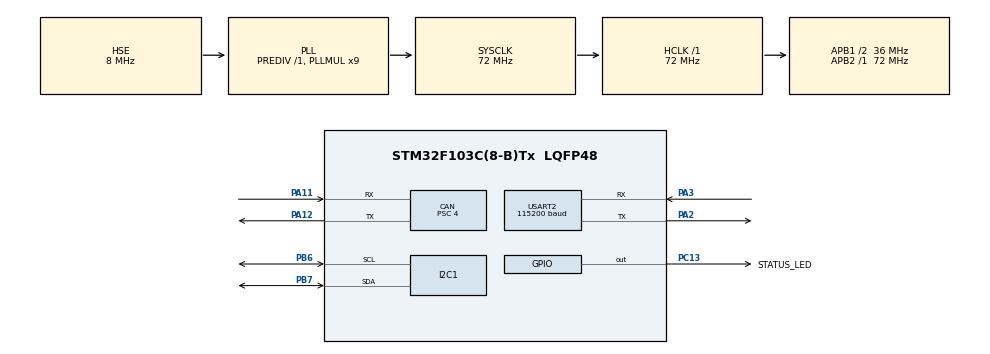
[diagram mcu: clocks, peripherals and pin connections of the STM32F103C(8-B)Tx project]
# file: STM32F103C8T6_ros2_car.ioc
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CAN.ABOM=ENABLE
CAN.BS1=CAN_BS1_6TQ
CAN.BS2=CAN_BS2_2TQ
CAN.CalculateBaudRate=1000000
CAN.CalculateTimeBit=1000
CAN.CalculateTimeQuantum=111.11111111111111
CAN.NART=ENABLE
CAN.Prescaler=4
Dma.Request0=USART2_RX
Dma.Request1=USART2_TX
Dma.USART2_RX.0.Direction=DMA_PERIPH_TO_MEMORY
Dma.USART2_RX.0.Instance=DMA1_Channel6
Dma.USART2_RX.0.MemDataAlignment=DMA_MDATAALIGN_BYTE
Dma.USART2_RX.0.MemInc=DMA_MINC_ENABLE
Dma.USART2_RX.0.Mode=DMA_CIRCULAR
Dma.USART2_RX.0.PeriphDataAlignment=DMA_PDATAALIGN_BYTE
Dma.USART2_RX.0.PeriphInc=DMA_PINC_DISABLE
Dma.USART2_RX.0.Priority=DMA_PRIORITY_LOW
Dma.USART2_TX.1.Direction=DMA_MEMORY_TO_PERIPH
Dma.USART2_TX.1.Instance=DMA1_Channel7
Dma.USART2_TX.1.MemDataAlignment=DMA_MDATAALIGN_BYTE
Dma.USART2_TX.1.MemInc=DMA_MINC_ENABLE
Dma.USART2_TX.1.Mode=DMA_NORMAL
Dma.USART2_TX.1.PeriphDataAlignment=DMA_PDATAALIGN_BYTE
Dma.USART2_TX.1.PeriphInc=DMA_PINC_DISABLE
Dma.USART2_TX.1.Priority=DMA_PRIORITY_LOW
I2C1.I2C_Mode=I2C_Fast
I2C1.NoStretchMode=I2C_NOSTRETCH_DISABLE
Mcu.Family=STM32F1
Mcu.Name=STM32F103C(8-B)Tx
Mcu.Package=LQFP48
NVIC.DMA1_Channel6_IRQn=true\:0\:0\:false\:false\:true\:false\:true\:true
NVIC.DMA1_Channel7_IRQn=true\:0\:0\:false\:false\:true\:false\:true\:true
NVIC.PriorityGroup=NVIC_PRIORITYGROUP_4
NVIC.TIM2_IRQn=true\:0\:0\:false\:false\:true\:true\:true\:true
NVIC.USART2_IRQn=true\:0\:0\:false\:false\:true\:true\:true\:true
NVIC.USB_LP_CAN1_RX0_IRQn=true\:0\:0\:false\:false\:true\:true\:true\:true
PA11.Mode=CAN_Activate
PA11.Signal=CAN_RX
PA12.Mode=CAN_Activate
PA12.Signal=CAN_TX
PA13.Mode=Serial_Wire
PA13.Signal=SYS_JTMS-SWDIO
PA14.Mode=Serial_Wire
PA14.Signal=SYS_JTCK-SWCLK
PA2.Mode=Asynchronous
PA2.Signal=USART2_TX
PA3.Mode=Asynchronous
PA3.Signal=USART2_RX
PB6.Mode=I2C
PB6.Signal=I2C1_SCL
PB7.Mode=I2C
PB7.Signal=I2C1_SDA
PC13-TAMPER-RTC.GPIO_Label=STATUS_LED
PC13-TAMPER-RTC.Signal=GPIO_Output
PD0-OSC_IN.Mode=HSE-External-Oscillator
PD0-OSC_IN.Signal=RCC_OSC_IN
PD1-OSC_OUT.Mode=HSE-External-Oscillator
PD1-OSC_OUT.Signal=RCC_OSC_OUT
ProjectManager.HeapSize=0x200
ProjectManager.StackSize=0x400
ProjectManager.TargetToolchain=STM32CubeIDE
RCC.AHBFreq_Value=72000000
RCC.APB1CLKDivider=RCC_HCLK_DIV2
RCC.APB1Freq_Value=36000000
RCC.APB1TimFreq_Value=72000000
RCC.APB2Freq_Value=72000000
RCC.APB2TimFreq_Value=72000000
RCC.HCLKFreq_Value=72000000
RCC.PLLMUL=RCC_PLL_MUL9
RCC.PLLSourceVirtual=RCC_PLLSOURCE_HSE
RCC.SYSCLKFreq_VALUE=72000000
RCC.SYSCLKSource=RCC_SYSCLKSOURCE_PLLCLK
RCC.USBFreq_Value=72000000
TIM2.ClockDivision=TIM_CLOCKDIVISION_DIV1
TIM2.Period=999
TIM2.Prescaler=71
USART2.BaudRate=115200
USART2.VirtualMode=VM_ASYNC
VP_TIM2_VS_ClockSourceINT.Mode=Internal
VP_TIM2_VS_ClockSourceITR.Mode=TriggerSource_ITR0
board=custom

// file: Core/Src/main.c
/* USER CODE BEGIN Header */
/**
  ******************************************************************************
  * @file           : main.c
  * @brief          : Main program body
  ******************************************************************************
  * @attention
  *
  * Copyright (c) 2026 STMicroelectronics.
  * All rights reserved.
  *
  * This software is licensed under terms that can be found in the LICENSE file
  * in the root directory of this software component.
  * If no LICENSE file comes with this software, it is provided AS-IS.
  *
  ******************************************************************************
  */
/* USER CODE END Header */
#include "main.h"

/* USER CODE BEGIN Includes */
#include <stdio.h>
#include <string.h>

#include "jc_motor.h"
#include "oled.h"
/* USER CODE END Includes */

CAN_HandleTypeDef hcan;
I2C_HandleTypeDef hi2c1;

TIM_HandleTypeDef htim2;

UART_HandleTypeDef huart2;
DMA_HandleTypeDef hdma_usart2_rx;
DMA_HandleTypeDef hdma_usart2_tx;

/* USER CODE BEGIN PV */
volatile uint32_t app_tick = 0U;

volatile uint8_t uart_rx_byte = 0U;

/*
 * ============================================================
 * MOTOR TARGET
 * ============================================================
 */

static volatile float left_target_rpm = 0.0f;
static volatile float right_target_rpm = 0.0f;

/*
 * ============================================================
 * COMMAND WATCHDOG
 * ============================================================
 */

static volatile uint32_t last_cmd_ms = 0U;

static volatile uint8_t cmd_watchdog_active = 1U;

/*
 * ============================================================
 * UART
 * ============================================================
 */

#define UART_CMD_BUFFER_SIZE    64U

static char uart_cmd_buffer[
    UART_CMD_BUFFER_SIZE
];

static volatile uint8_t uart_cmd_index = 0U;

/*
 * ============================================================
 * SYSTEM STATUS
 * ============================================================
 */

static volatile uint8_t can_started = 0U;

static volatile uint8_t uart_command_seen = 0U;

/*
 * ============================================================
 * ROCK 5C
 * ============================================================
 */

#define ROCK_TIMEOUT_MS         15000U

static char rock_ip[24] =
    "192.168.xxx.xxx";

static volatile uint32_t last_rock_ms = 0U;

static volatile uint8_t rock_seen = 0U;

/*
 * ============================================================
 * CONFIGURATION
 * ============================================================
 */

#define LEFT_FORWARD_SIGN       (+1.0f)
#define RIGHT_FORWARD_SIGN      (-1.0f)

#define MANUAL_DRIVE_RPM        50.0f
#define MANUAL_TURN_RPM         40.0f

#define COMMAND_TIMEOUT_MS      300U

#define MOTOR_TIMEOUT_MS        100U

#define TELEMETRY_PERIOD_MS     20U

#define OLED_PERIOD_MS          200U

#define ROBOT_MAX_WHEEL_RPM  50.0f
/* USER CODE END PV */

void SystemClock_Config(void);
static void MX_GPIO_Init(void);
static void MX_DMA_Init(void);
static void MX_CAN_Init(void);
static void MX_I2C1_Init(void);
static void MX_TIM2_Init(void);
static void MX_USART2_UART_Init(void);

/* USER CODE BEGIN 0 */
static void Robot_SetWheelRpm(
    float left_rpm,
    float right_rpm)
{
    left_target_rpm = left_rpm;
    right_target_rpm = right_rpm;
}

static void Robot_Stop(void)
{
    Robot_SetWheelRpm(
        0.0f,
        0.0f
    );
}

static void Robot_Forward(void)
{
    Robot_SetWheelRpm(
        LEFT_FORWARD_SIGN *
            MANUAL_DRIVE_RPM,

        RIGHT_FORWARD_SIGN *
            MANUAL_DRIVE_RPM
    );
}

static void Robot_Backward(void)
{
    Robot_SetWheelRpm(
        -LEFT_FORWARD_SIGN *
            MANUAL_DRIVE_RPM,

        -RIGHT_FORWARD_SIGN *
            MANUAL_DRIVE_RPM
    );
}

static void Robot_TurnLeft(void)
{
    Robot_SetWheelRpm(
        -LEFT_FORWARD_SIGN *
            MANUAL_TURN_RPM,

        RIGHT_FORWARD_SIGN *
            MANUAL_TURN_RPM
    );
}

static void Robot_TurnRight(void)
{
    Robot_SetWheelRpm(
        LEFT_FORWARD_SIGN *
            MANUAL_TURN_RPM,

        -RIGHT_FORWARD_SIGN *
            MANUAL_TURN_RPM
    );
}

/*
 * Mark a command as valid.
 *
 * This kicks the command watchdog.
 */
static void Robot_CommandReceived(void)
{
    last_cmd_ms = HAL_GetTick();

    cmd_watchdog_active = 0U;

    uart_command_seen = 1U;
}

/*
 * Formal ROS-ready UART command:
 *
 * V,<left_rpm_x100>,<right_rpm_x100>
 *
 * Examples:
 *
 * V,5000,-5000
 *   left  = +50.00 rpm
 *   right = -50.00 rpm
 *
 * V,0,0
 *   stop
 */
static void Robot_ParseVelocityCommand(
    const char *line)
{
    long left_raw;
    long right_raw;

    if (sscanf(
            line,
            "V,%ld,%ld",
            &left_raw,
            &right_raw) == 2)
    {
        /*
         * UART protocol uses rpm * 100.
         */
        float left_rpm =
            (float)left_raw / 100.0f;

        float right_rpm =
            (float)right_raw / 100.0f;

        /*
         * Safety clamp at UART boundary.
         */
        if (left_rpm > ROBOT_MAX_WHEEL_RPM)
        {
            left_rpm = ROBOT_MAX_WHEEL_RPM;
        }

        if (left_rpm < -ROBOT_MAX_WHEEL_RPM)
        {
            left_rpm = -ROBOT_MAX_WHEEL_RPM;
        }

        if (right_rpm > ROBOT_MAX_WHEEL_RPM)
        {
            right_rpm = ROBOT_MAX_WHEEL_RPM;
        }

        if (right_rpm < -ROBOT_MAX_WHEEL_RPM)
        {
            right_rpm = -ROBOT_MAX_WHEEL_RPM;
        }

        Robot_SetWheelRpm(
            left_rpm,
            right_rpm
        );

        Robot_CommandReceived();

        char message[96];

        int length = snprintf(
            message,
            sizeof(message),

            "[CMD] V L=%.2f R=%.2f rpm\r\n",

            left_rpm,
            right_rpm
        );

        if (length > 0)
        {
            HAL_UART_Transmit(
                &huart2,
                (uint8_t *)message,
                (uint16_t)length,
                100U
            );
        }
    }
}

/*
 * Debug keyboard commands.
 *
 * These are intentionally retained for bench testing.
 */
static void Robot_HandleSingleCommand(
    uint8_t command)
{
    switch (command)
    {
        case 'w':
        case 'W':

            Robot_Forward();
            Robot_CommandReceived();
            break;

        case 's':
        case 'S':

            Robot_Backward();
            Robot_CommandReceived();
            break;

        case 'a':
        case 'A':

            Robot_TurnLeft();
            Robot_CommandReceived();
            break;

        case 'd':
        case 'D':

            Robot_TurnRight();
            Robot_CommandReceived();
            break;

        case 'x':
        case 'X':
        case ' ':

            Robot_Stop();
            Robot_CommandReceived();
            break;

        default:
            break;
    }
}

static void Robot_ParseIpCommand( const char *line)
{
    const char *ip;

    if (line == NULL)
    {
        return;
    }

    if (strncmp(
            line,
            "IP,",
            3U) != 0)
    {
        return;
    }

    ip = &line[3];

    /*
     * Reject empty or oversized strings.
     */
    size_t length =
        strlen(ip);

    if ((length == 0U) ||
        (length >= sizeof(rock_ip)))
    {
        return;
    }

    /*
     * Store IP for OLED.
     */
    strncpy(
        rock_ip,
        ip,
        sizeof(rock_ip) - 1U
    );

    rock_ip[
        sizeof(rock_ip) - 1U
    ] = '\0';

    /*
     * IP packet also acts as
     * Rock 5C heartbeat.
     */
    last_rock_ms =
        HAL_GetTick();

    rock_seen = 1U;
}

/*
 * Process one complete UART line.
 */
static void Robot_ProcessUartLine(
    const char *line)
{
    if (line == NULL)
    {
        return;
    }

    /*
     * Wheel velocity command.
     */
    if (strncmp(
            line,
            "V,",
            2U) == 0)
    {
        Robot_ParseVelocityCommand(
            line
        );

        return;
    }

    /*
     * Rock 5C IP / heartbeat.
     */
    if (strncmp(
            line,
            "IP,",
            3U) == 0)
    {
        Robot_ParseIpCommand(
            line
        );

        return;
    }
}

static void Robot_CheckWatchdog(void)
{
    uint32_t now =
        HAL_GetTick();

    if ((uint32_t)(
            now - last_cmd_ms
        ) > COMMAND_TIMEOUT_MS)
    {
        /*
         * Only stop once when watchdog trips.
         */
        if (cmd_watchdog_active == 0U)
        {
            Robot_Stop();

            cmd_watchdog_active = 1U;
        }
    }
}

static uint8_t Robot_GetStatus(void)
{
    uint8_t status = 0U;

    uint32_t now =
        HAL_GetTick();

    /*
     * bit0:
     * CAN peripheral started.
     */
    if (can_started)
    {
        status |= (1U << 0);
    }

    /*
     * bit1:
     * Left motor feedback alive.
     */
    if ((uint32_t)(
            now - motor_left.last_rx_ms
        ) <= MOTOR_TIMEOUT_MS)
    {
        status |= (1U << 1);
    }

    /*
     * bit2:
     * Right motor feedback alive.
     */
    if ((uint32_t)(
            now - motor_right.last_rx_ms
        ) <= MOTOR_TIMEOUT_MS)
    {
        status |= (1U << 2);
    }

    /*
     * bit3:
     * Command watchdog healthy.
     *
     * cmd_watchdog_active == 0
     * means command link is alive.
     */
    if (cmd_watchdog_active == 0U)
    {
        status |= (1U << 3);
    }

    /*
     * bit4:
     * At least one valid UART command
     * has been received since boot.
     */
    if (uart_command_seen)
    {
        status |= (1U << 4);
    }

    return status;
}

static void Robot_SendTelemetry(void)
{
    char buffer[160];

    uint32_t now =
        HAL_GetTick();

    /*
     * Position and velocity are transmitted
     * as scaled integers.
     *
     * position:
     * degree * 100
     *
     * velocity:
     * rpm * 100
     */
    int32_t left_pos_raw =
        (int32_t)(
            motor_left.pos_deg * 100.0f
        );

    int32_t left_vel_raw =
        (int32_t)(
            motor_left.vel_rpm * 100.0f
        );

    int32_t right_pos_raw =
        (int32_t)(
            motor_right.pos_deg * 100.0f
        );

    int32_t right_vel_raw =
        (int32_t)(
            motor_right.vel_rpm * 100.0f
        );

    uint8_t status =
        Robot_GetStatus();

    int length = snprintf(
        buffer,
        sizeof(buffer),

        "FB,%lu,%ld,%ld,%ld,%ld,%u\r\n",

        (unsigned long)now,

        (long)left_pos_raw,
        (long)left_vel_raw,

        (long)right_pos_raw,
        (long)right_vel_raw,

        (unsigned int)status
    );

    if (length <= 0)
    {
        return;
    }

    if ((size_t)length >= sizeof(buffer))
    {
        length =
            sizeof(buffer) - 1U;
    }

    HAL_UART_Transmit(
        &huart2,
        (uint8_t *)buffer,
        (uint16_t)length,
        20U
    );
}

static uint8_t Robot_IsRockOnline(void)
{
    if (rock_seen == 0U)
    {
        return 0U;
    }

    uint32_t age =
        HAL_GetTick() -
        last_rock_ms;

    if (age >
        ROCK_TIMEOUT_MS)
    {
        return 0U;
    }

    return 1U;
}

static void Robot_UpdateOLED(void)
{
    char line[32];

    uint8_t status =
        Robot_GetStatus();

    uint8_t can_ok =
        ((status &
          (1U << 0)) != 0U);

    uint8_t left_ok =
        ((status &
          (1U << 1)) != 0U);

    uint8_t right_ok =
        ((status &
          (1U << 2)) != 0U);

    uint8_t ros_ok =
        ((status &
          (1U << 3)) != 0U);

    uint8_t rock_ok =
        Robot_IsRockOnline();

    /*
     * Convert velocity manually
     * to integer rpm for display.
     *
     * OLED is status only.
     * Full precision remains in FB telemetry.
     */
    int left_rpm =
        (int)motor_left.vel_rpm;

    int right_rpm =
        (int)motor_right.vel_rpm;

    OLED_Clear();

    /*
     * ========================================================
     * LINE 1
     * ========================================================
     */

    OLED_SetCursor(
        0U,
        0U
    );

    OLED_WriteString(
        "ROS CAR"
    );

    /*
     * ========================================================
     * LINE 2
     * ========================================================
     */

    snprintf(
        line,
        sizeof(line),
        "IP:%s",
        rock_ip
    );

    OLED_SetCursor(
        0U,
        10U
    );

    OLED_WriteString(
        line
    );

    /*
     * ========================================================
     * LINE 3
     * ========================================================
     */

    snprintf(
        line,
        sizeof(line),

        "ROCK:%s",

        rock_ok ?
            "OK" :
            "WAIT"
    );

    OLED_SetCursor(
        0U,
        20U
    );

    OLED_WriteString(
        line
    );

    /*
     * ========================================================
     * LINE 4
     * ========================================================
     */

    snprintf(
        line,
        sizeof(line),

        "CAN:%s ROS:%s",

        (can_ok &&
         left_ok &&
         right_ok) ?
            "OK" :
            "ERR",

        ros_ok ?
            "OK" :
            "WAIT"
    );

    OLED_SetCursor(
        0U,
        30U
    );

    OLED_WriteString(
        line
    );

    /*
     * ========================================================
     * LINE 5
     * ========================================================
     */

    snprintf(
        line,
        sizeof(line),

        "L:%+4d RPM",

        left_rpm
    );

    OLED_SetCursor(
        0U,
        40U
    );

    OLED_WriteString(
        line
    );

    /*
     * ========================================================
     * LINE 6
     * ========================================================
     */

    snprintf(
        line,
        sizeof(line),

        "R:%+4d RPM",

        right_rpm
    );

    OLED_SetCursor(
        0U,
        50U
    );

    OLED_WriteString(
        line
    );

    OLED_Update();
}
/* USER CODE END 0 */

int main(void)
{

  /* MCU Configuration--------------------------------------------------------*/

  /* Reset of all peripherals, Initializes the Flash interface and the Systick. */
  HAL_Init();

  /* Configure the system clock */
  SystemClock_Config();

  /* Initialize all configured peripherals */
  MX_GPIO_Init();
  MX_DMA_Init();
  MX_CAN_Init();
  MX_I2C1_Init();
  MX_TIM2_Init();
  MX_USART2_UART_Init();
  /* USER CODE BEGIN 2 */
  /*
   * ============================================================
   * OLED
   * ============================================================
   */

  HAL_Delay(100U);

  /*
   * First verify that an I2C device exists.
   *
   * OLED expected at 0x3C.
   */
  if (HAL_I2C_IsDeviceReady(
          &hi2c1,
          OLED_I2C_ADDR,
          3U,
          100U) == HAL_OK)
  {
      if (OLED_Init(
              &hi2c1) == HAL_OK)
      {
          OLED_Clear();

          OLED_SetCursor(
              0U,
              0U
          );

          OLED_WriteString(
              "ROS CAR"
          );

          OLED_SetCursor(
              0U,
              15U
          );

          OLED_WriteString(
              "STM32 BOOT OK"
          );

          OLED_SetCursor(
              0U,
              30U
          );

          OLED_WriteString(
              "WAIT ROCK 5C"
          );

          OLED_Update();
      }
  }

  /*
   * Continue your existing initialization below.
   */

  if (HAL_TIM_Base_Start_IT(&htim2) != HAL_OK)
  {
      Error_Handler();
  }

  if (JC_CAN_Init() != HAL_OK)
  {
      const char error_message[] =
          "[ERR] CAN init failed\r\n";

      HAL_UART_Transmit(
          &huart2,
          (uint8_t *)error_message,
          sizeof(error_message) - 1U,
          100U
      );

      Error_Handler();
  }

  can_started = 1U;

  {
      const char startup_message[] =
          "[OK] CAN started @ 1Mbps\r\n";

      HAL_UART_Transmit(
          &huart2,
          (uint8_t *)startup_message,
          sizeof(startup_message) - 1U,
          100U
      );
  }

  /*
   * Put both motors into idle first.
   */
  HAL_Delay(100U);
  JC_Idle(JC_NODE_LEFT);
  HAL_Delay(100U);
  JC_Idle(JC_NODE_RIGHT);
  HAL_Delay(100U);

  JC_EnterClosedLoop(JC_NODE_LEFT);
  HAL_Delay(100U);
  JC_EnterClosedLoop(JC_NODE_RIGHT);
  HAL_Delay(100U);

/*
 * Mode 5 = JC native low-speed high-torque mode.
 *
 * This mode uses register 0x0027 rather than
 * the normal velocity register 0x0021.
 */
if (JC_SetMode(
        JC_NODE_LEFT,
        JC_MODE_LOW_SPEED_TORQUE) != HAL_OK)
{
    Error_Handler();
}

HAL_Delay(100U);

if (JC_SetMode(
        JC_NODE_RIGHT,
        JC_MODE_LOW_SPEED_TORQUE) != HAL_OK)
{
    Error_Handler();
}

HAL_Delay(100U);

  /*
   * Safe startup.
   */
    (void)JC_SetLowSpeedRpm(
        JC_NODE_LEFT,
        0.0f
    );

    (void)JC_SetLowSpeedRpm(
        JC_NODE_RIGHT,
        0.0f
    );

  Robot_Stop();

  last_cmd_ms = HAL_GetTick();
  cmd_watchdog_active = 1U;

  HAL_UART_Receive_IT(
      &huart2,
      (uint8_t *)&uart_rx_byte,
      1U
  );

  {
      const char message[] =
          "\r\n"
          "=================================\r\n"
          " ROS CAR BASE CONTROLLER\r\n"
          "=================================\r\n"
          "JC mode : velocity closed loop\r\n"
          "CAN     : 1 Mbps\r\n"
          "Left    : Node 1\r\n"
          "Right   : Node 3\r\n"
          "\r\n"
          "ROS interface:\r\n"
          "V,<left_rpm_x100>,<right_rpm_x100>\r\n"
          "\r\n"
          "Debug:\r\n"
          "W/S/A/D/X\r\n"
          "=================================\r\n";

      HAL_UART_Transmit(
          &huart2,
          (uint8_t *)message,
          sizeof(message) - 1U,
          200U
      );
  }
  /* USER CODE END 2 */

  /* Infinite loop */
  /* USER CODE BEGIN WHILE */

  uint32_t last_motor_tick = 0U;
  uint32_t last_telemetry_ms = 0U;
  uint32_t last_debug_ms = 0U;
  uint32_t last_oled_ms = 0U;

  uint32_t last_left_rx_count = 0U;
  uint32_t last_right_rx_count = 0U;

  while (1)
  {
      uint32_t tick =
          app_tick;

      /*
       * 1. Safety
       */
      Robot_CheckWatchdog();

      /*
       * 2. Motor command @ 100 Hz
       */
      if ((uint32_t)(
              tick - last_motor_tick
          ) >= 10U)
      {
          last_motor_tick = tick;

          (void)JC_SetLowSpeedRpm(
              JC_NODE_LEFT,
              left_target_rpm
          );

          (void)JC_SetLowSpeedRpm(
              JC_NODE_RIGHT,
              right_target_rpm
          );
      }

      /*
       * 3. Formal telemetry @ 50 Hz
       */
      {
          uint32_t now =
              HAL_GetTick();

          if ((uint32_t)(
                  now - last_telemetry_ms
              ) >= TELEMETRY_PERIOD_MS)
          {
              last_telemetry_ms = now;

              Robot_SendTelemetry();
          }
      }

      /*
       * ============================================================
       * OLED STATUS @ 5 Hz
       * ============================================================
       */

      {
          uint32_t now =
              HAL_GetTick();

          if ((uint32_t)(
                  now -
                  last_oled_ms
              ) >= OLED_PERIOD_MS)
          {
              last_oled_ms = now;

              Robot_UpdateOLED();
          }
      }

      /*
       * 4. Human-readable debug @ 2 Hz
       */
      {
          uint32_t now =
              HAL_GetTick();

          if ((uint32_t)(
                  now - last_debug_ms
              ) >= 500U)
          {
              last_debug_ms = now;

              char buffer[192];

              int length = snprintf(
                  buffer,
                  sizeof(buffer),

                  "DBG,WD=%s "
                  "TARGET L=%7.2f R=%7.2f "
                  "ACT L=%7.2f R=%7.2f "
                  "RX=%lu/%lu\r\n",

                  cmd_watchdog_active ?
                      "STOP" :
                      "OK",

                  left_target_rpm,
                  right_target_rpm,

                  motor_left.vel_rpm,
                  motor_right.vel_rpm,

                  (unsigned long)
                      motor_left.rx_count,

                  (unsigned long)
                      motor_right.rx_count
              );

              if (length > 0)
              {
                  if ((size_t)length >
                      sizeof(buffer))
                  {
                      length =
                          sizeof(buffer);
                  }

                  HAL_UART_Transmit(
                      &huart2,
                      (uint8_t *)buffer,
                      (uint16_t)length,
                      50U
                  );
              }
          }
      }

    /* USER CODE END WHILE */

  }
}

void SystemClock_Config(void)
{
  RCC_OscInitTypeDef RCC_OscInitStruct = {0};
  RCC_ClkInitTypeDef RCC_ClkInitStruct = {0};

  /** Initializes the RCC Oscillators according to the specified parameters
  * in the RCC_OscInitTypeDef structure.
  */
  RCC_OscInitStruct.OscillatorType = RCC_OSCILLATORTYPE_HSE;
  RCC_OscInitStruct.HSEState = RCC_HSE_ON;
  RCC_OscInitStruct.HSEPredivValue = RCC_HSE_PREDIV_DIV1;
  RCC_OscInitStruct.HSIState = RCC_HSI_ON;
  RCC_OscInitStruct.PLL.PLLState = RCC_PLL_ON;
  RCC_OscInitStruct.PLL.PLLSource = RCC_PLLSOURCE_HSE;
  RCC_OscInitStruct.PLL.PLLMUL = RCC_PLL_MUL9;
  if (HAL_RCC_OscConfig(&RCC_OscInitStruct) != HAL_OK)
  {
    Error_Handler();
  }

  /** Initializes the CPU, AHB and APB buses clocks
  */
  RCC_ClkInitStruct.ClockType = RCC_CLOCKTYPE_HCLK|RCC_CLOCKTYPE_SYSCLK
                              |RCC_CLOCKTYPE_PCLK1|RCC_CLOCKTYPE_PCLK2;
  RCC_ClkInitStruct.SYSCLKSource = RCC_SYSCLKSOURCE_PLLCLK;
  RCC_ClkInitStruct.AHBCLKDivider = RCC_SYSCLK_DIV1;
  RCC_ClkInitStruct.APB1CLKDivider = RCC_HCLK_DIV2;
  RCC_ClkInitStruct.APB2CLKDivider = RCC_HCLK_DIV1;

  if (HAL_RCC_ClockConfig(&RCC_ClkInitStruct, FLASH_LATENCY_2) != HAL_OK)
  {
    Error_Handler();
  }
}

static void MX_CAN_Init(void)
{

  hcan.Instance = CAN1;
  hcan.Init.Prescaler = 4;
  hcan.Init.Mode = CAN_MODE_NORMAL;
  hcan.Init.SyncJumpWidth = CAN_SJW_1TQ;
  hcan.Init.TimeSeg1 = CAN_BS1_6TQ;
  hcan.Init.TimeSeg2 = CAN_BS2_2TQ;
  hcan.Init.TimeTriggeredMode = DISABLE;
  hcan.Init.AutoBusOff = ENABLE;
  hcan.Init.AutoWakeUp = DISABLE;
  hcan.Init.AutoRetransmission = ENABLE;
  hcan.Init.ReceiveFifoLocked = DISABLE;
  hcan.Init.TransmitFifoPriority = DISABLE;
  if (HAL_CAN_Init(&hcan) != HAL_OK)
  {
    Error_Handler();
  }

}

static void MX_I2C1_Init(void)
{

  hi2c1.Instance = I2C1;
  hi2c1.Init.ClockSpeed = 400000;
  hi2c1.Init.DutyCycle = I2C_DUTYCYCLE_2;
  hi2c1.Init.OwnAddress1 = 0;
  hi2c1.Init.AddressingMode = I2C_ADDRESSINGMODE_7BIT;
  hi2c1.Init.DualAddressMode = I2C_DUALADDRESS_DISABLE;
  hi2c1.Init.OwnAddress2 = 0;
  hi2c1.Init.GeneralCallMode = I2C_GENERALCALL_DISABLE;
  hi2c1.Init.NoStretchMode = I2C_NOSTRETCH_DISABLE;
  if (HAL_I2C_Init(&hi2c1) != HAL_OK)
  {
    Error_Handler();
  }

}

static void MX_TIM2_Init(void)
{

  TIM_ClockConfigTypeDef sClockSourceConfig = {0};
  TIM_SlaveConfigTypeDef sSlaveConfig = {0};
  TIM_MasterConfigTypeDef sMasterConfig = {0};

  htim2.Instance = TIM2;
  htim2.Init.Prescaler = 71;
  htim2.Init.CounterMode = TIM_COUNTERMODE_UP;
  htim2.Init.Period = 999;
  htim2.Init.ClockDivision = TIM_CLOCKDIVISION_DIV1;
  htim2.Init.AutoReloadPreload = TIM_AUTORELOAD_PRELOAD_DISABLE;
  if (HAL_TIM_Base_Init(&htim2) != HAL_OK)
  {
    Error_Handler();
  }
  sClockSourceConfig.ClockSource = TIM_CLOCKSOURCE_INTERNAL;
  if (HAL_TIM_ConfigClockSource(&htim2, &sClockSourceConfig) != HAL_OK)
  {
    Error_Handler();
  }
  sSlaveConfig.SlaveMode = TIM_SLAVEMODE_DISABLE;
  sSlaveConfig.InputTrigger = TIM_TS_ITR0;
  if (HAL_TIM_SlaveConfigSynchro(&htim2, &sSlaveConfig) != HAL_OK)
  {
    Error_Handler();
  }
  sMasterConfig.MasterOutputTrigger = TIM_TRGO_RESET;
  sMasterConfig.MasterSlaveMode = TIM_MASTERSLAVEMODE_DISABLE;
  if (HAL_TIMEx_MasterConfigSynchronization(&htim2, &sMasterConfig) != HAL_OK)
  {
    Error_Handler();
  }

}

static void MX_USART2_UART_Init(void)
{

  huart2.Instance = USART2;
  huart2.Init.BaudRate = 115200;
  huart2.Init.WordLength = UART_WORDLENGTH_8B;
  huart2.Init.StopBits = UART_STOPBITS_1;
  huart2.Init.Parity = UART_PARITY_NONE;
  huart2.Init.Mode = UART_MODE_TX_RX;
  huart2.Init.HwFlowCtl = UART_HWCONTROL_NONE;
  huart2.Init.OverSampling = UART_OVERSAMPLING_16;
  if (HAL_UART_Init(&huart2) != HAL_OK)
  {
    Error_Handler();
  }

}

static void MX_DMA_Init(void)
{

  /* DMA controller clock enable */
  __HAL_RCC_DMA1_CLK_ENABLE();

  /* DMA interrupt init */
  /* DMA1_Channel6_IRQn interrupt configuration */
  HAL_NVIC_SetPriority(DMA1_Channel6_IRQn, 0, 0);
  HAL_NVIC_EnableIRQ(DMA1_Channel6_IRQn);
  /* DMA1_Channel7_IRQn interrupt configuration */
  HAL_NVIC_SetPriority(DMA1_Channel7_IRQn, 0, 0);
  HAL_NVIC_EnableIRQ(DMA1_Channel7_IRQn);

}

static void MX_GPIO_Init(void)
{
  GPIO_InitTypeDef GPIO_InitStruct = {0};

  /* GPIO Ports Clock Enable */
  __HAL_RCC_GPIOC_CLK_ENABLE();
  __HAL_RCC_GPIOD_CLK_ENABLE();
  __HAL_RCC_GPIOA_CLK_ENABLE();
  __HAL_RCC_GPIOB_CLK_ENABLE();

  /*Configure GPIO pin Output Level */
  HAL_GPIO_WritePin(STATUS_LED_GPIO_Port, STATUS_LED_Pin, GPIO_PIN_RESET);

  /*Configure GPIO pin : STATUS_LED_Pin */
  GPIO_InitStruct.Pin = STATUS_LED_Pin;
  GPIO_InitStruct.Mode = GPIO_MODE_OUTPUT_PP;
  GPIO_InitStruct.Pull = GPIO_NOPULL;
  GPIO_InitStruct.Speed = GPIO_SPEED_FREQ_LOW;
  HAL_GPIO_Init(STATUS_LED_GPIO_Port, &GPIO_InitStruct);

}

/* USER CODE BEGIN 4 */

void HAL_TIM_PeriodElapsedCallback(
    TIM_HandleTypeDef *htim)
{
    if ((htim != NULL) &&
        (htim->Instance == TIM2))
    {
        app_tick++;

        if ((app_tick % 500U) == 0U)
        {
            HAL_GPIO_TogglePin(
                STATUS_LED_GPIO_Port,
                STATUS_LED_Pin
            );
        }
    }
}

void HAL_UART_RxCpltCallback(
    UART_HandleTypeDef *huart)
{
    if (huart->Instance == USART2)
    {
        uint8_t c =
            uart_rx_byte;

        /*
         * Keep W/S/A/D/X as immediate
         * local debug commands.
         */
        if ((c == 'w') ||
            (c == 'W') ||
            (c == 's') ||
            (c == 'S') ||
            (c == 'a') ||
            (c == 'A') ||
            (c == 'd') ||
            (c == 'D') ||
            (c == 'x') ||
            (c == 'X') ||
            (c == ' '))
        {
            Robot_HandleSingleCommand(c);
        }
        else if ((c == '\r') ||
                 (c == '\n'))
        {
            /*
             * End of line.
             */
            if (uart_cmd_index > 0U)
            {
                uart_cmd_buffer[
                    uart_cmd_index
                ] = '\0';

                Robot_ProcessUartLine(
                    uart_cmd_buffer
                );

                uart_cmd_index = 0U;
            }
        }
        else
        {
            /*
             * Build line.
             */
            if (uart_cmd_index <
                (UART_CMD_BUFFER_SIZE - 1U))
            {
                uart_cmd_buffer[
                    uart_cmd_index++
                ] = (char)c;
            }
            else
            {
                /*
                 * Overflow -> discard line.
                 */
                uart_cmd_index = 0U;
            }
        }

        /*
         * Arm receive for next byte.
         */
        HAL_UART_Receive_IT(
            &huart2,
            (uint8_t *)&uart_rx_byte,
            1U
        );
    }
}
/* USER CODE END 4 */

void Error_Handler(void)
{
  __disable_irq();
  while (1)
  {
  }
}
